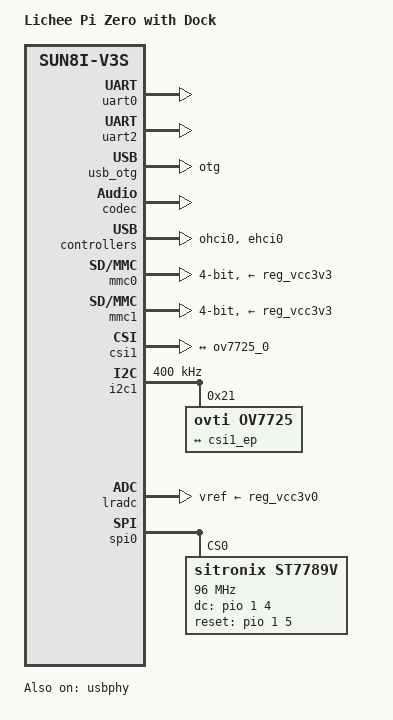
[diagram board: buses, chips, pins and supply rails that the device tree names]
/*
 * Copyright (C) 2016 Icenowy Zheng <icenowy@aosc.xyz>
 *
 * This file is dual-licensed: you can use it either under the terms
 * of the GPL or the X11 license, at your option. Note that this dual
 * licensing only applies to this file, and not this project as a
 * whole.
 *
 *  a) This file is free software; you can redistribute it and/or
 *     modify it under the terms of the GNU General Public License as
 *     published by the Free Software Foundation; either version 2 of the
 *     License, or (at your option) any later version.
 *
 *     This file is distributed in the hope that it will be useful,
 *     but WITHOUT ANY WARRANTY; without even the implied warranty of
 *     MERCHANTABILITY or FITNESS FOR A PARTICULAR PURPOSE.  See the
 *     GNU General Public License for more details.
 *
 * Or, alternatively,
 *
 *  b) Permission is hereby granted, free of charge, to any person
 *     obtaining a copy of this software and associated documentation
 *     files (the "Software"), to deal in the Software without
 *     restriction, including without limitation the rights to use,
 *     copy, modify, merge, publish, distribute, sublicense, and/or
 *     sell copies of the Software, and to permit persons to whom the
 *     Software is furnished to do so, subject to the following
 *     conditions:
 *
 *     The above copyright notice and this permission notice shall be
 *     included in all copies or substantial portions of the Software.
 *
 *     THE SOFTWARE IS PROVIDED "AS IS", WITHOUT WARRANTY OF ANY KIND,
 *     EXPRESS OR IMPLIED, INCLUDING BUT NOT LIMITED TO THE WARRANTIES
 *     OF MERCHANTABILITY, FITNESS FOR A PARTICULAR PURPOSE AND
 *     NONINFRINGEMENT. IN NO EVENT SHALL THE AUTHORS OR COPYRIGHT
 *     HOLDERS BE LIABLE FOR ANY CLAIM, DAMAGES OR OTHER LIABILITY,
 *     WHETHER IN AN ACTION OF CONTRACT, TORT OR OTHERWISE, ARISING
 *     FROM, OUT OF OR IN CONNECTION WITH THE SOFTWARE OR THE USE OR
 *     OTHER DEALINGS IN THE SOFTWARE.
 */

#include "sun8i-v3s-licheepi-zero.dts"

#include <dt-bindings/input/input.h>

/ {
	model = "Lichee Pi Zero with Dock";
	compatible = "licheepi,licheepi-zero-dock", "licheepi,licheepi-zero",
		     "allwinner,sun8i-v3s";
	chosen {
			/delete-node/ framebuffer@0;
	};
	leds {
		/* The LEDs use PG0~2 pins, which conflict with MMC1 */
		status = "disabled";
	};
};
&uart0 {
	pinctrl-0 = <&uart0_pb_pins>;
	pinctrl-names = "default";
	status = "okay";
};
&uart2 {
	pinctrl-0 = <&uart2_pins>;
	pinctrl-names = "default";
	status = "okay";
};
&usb_otg {
	dr_mode = "otg";
	status = "okay";
};
&codec {
	allwinner,audio-routing =
		"Headphone", "HP",
		"Headphone", "HPCOM",
		"MIC1", "Mic",
		"Mic",  "HBIAS";
	status = "okay";
};
&ohci0 {
	status = "okay";
};
&ehci0 {
	status = "okay";
};
&usbphy {
	usb0_id_det-gpios = <&pio 5 6 GPIO_ACTIVE_HIGH>;
	status = "okay";
};

&mmc0 {
	broken-cd;
	bus-width = <4>;
	vmmc-supply = <&reg_vcc3v3>;
	status = "okay";
};
&mmc1 {
	broken-cd;
	bus-width = <4>;
	vmmc-supply = <&reg_vcc3v3>;
	status = "okay";
};
&csi1 {
	status = "okay";
	pinctrl-names = "default";
	pinctrl-0 = <&csi1_clk &csi1_8bit>;

	port {
		// csi1_ep: endpoint {
		// remote-endpoint = <&ov2640_0>;
		// hsync-active = <0>;
		// vsync-active = <0>;
		// bus-width = <10>;
	    // 	pclk-sample = <1>;
		// };
		csi1_ep: endpoint {
		remote-endpoint = <&ov7725_0>;
		hsync-active = <0>;
		vsync-active = <1>;
		bus-width = <8>;
		pclk-sample = <1>;
				
		};
	};

 };

&i2c1 {
    	pinctrl-0 = <&i2c1_pins>;
		pinctrl-names = "default";
		clock-frequency = <400000>;
		status = "okay";


	ov7725: camera@21 {
		compatible = "ovti,ov7725";
		reg = <0x21>;
		pinctrl-names = "default";
		pinctrl-0 = <&csi1_mclk_pin>;
		clocks = <&ccu CLK_CSI1_MCLK>;
		clock-names = "xclk";
		assigned-clocks = <&ccu CLK_CSI1_MCLK>;
		assigned-clock-rates = <24000000>;
		port {
			ov7725_0: endpoint {
				remote-endpoint = <&csi1_ep>;
				//bus-width = <10>;
			};
		};
	};
	
	// ov2640: camera@30 {
	// 	compatible = "ovti,ov2640";
	// 	reg = <0x30>;
	// 	pinctrl-names = "default";
	// 	pinctrl-0 = <&csi1_mclk_pin>;
	// 	clocks = <&ccu CLK_CSI1_MCLK>;
	// 	clock-names = "xvclk";
	// 	assigned-clocks = <&ccu CLK_CSI1_MCLK>;
	// 	assigned-clock-rates = <24000000>;
	// 	port {
	// 		ov2640_0: endpoint {
	// 			remote-endpoint = <&csi1_ep>;
	// 			bus-width = <10>;
	// 		};
	// 	};
	// };
};
&lradc {
	vref-supply = <&reg_vcc3v0>;
	status = "okay";

	button-200 {
		label = "Volume Up";
		linux,code = <KEY_VOLUMEUP>;
		channel = <0>;
		voltage = <200000>;
	};

	button-400 {
		label = "Volume Down";
		linux,code = <KEY_VOLUMEDOWN>;
		channel = <0>;
		voltage = <400000>;
	};

	button-600 {
		label = "Select";
		linux,code = <KEY_SELECT>;
		channel = <0>;
		voltage = <600000>;
	};

	button-800 {
		label = "Start";
		linux,code = <KEY_OK>;
		channel = <0>;
		voltage = <800000>;
	};
	
};
&spi0{
	status = "okay";
	st7789v: st7789v@0{
		compatible = "sitronix,st7789v";
		reg = <0>;
		status = "okay";
		spi-max-frequency = <96000000>;
		spi-cpol;
		spi-cpha;
		rotate = <270>;
		fps = <60>;
		buswidth = <8>;
		dc-gpios = <&pio 1 4 GPIO_ACTIVE_HIGH>;  /* PB4 */
		reset-gpios = <&pio 1 5 GPIO_ACTIVE_HIGH>; /* PB5 */
		//led-gpios = <&pio 0 0 GPIO_ACTIVE_LOW>;  /* PA0 */
		debug = <0x0>;
		};
};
